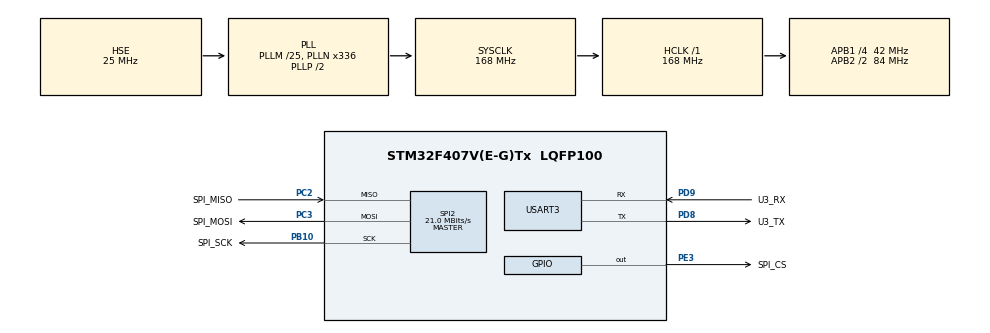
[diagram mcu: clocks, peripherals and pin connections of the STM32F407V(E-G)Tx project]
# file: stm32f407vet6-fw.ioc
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ADC1.Channel-0\#ChannelRegularConversion=ADC_CHANNEL_TEMPSENSOR
ADC1.ClockPrescaler=ADC_CLOCK_SYNC_PCLK_DIV4
ADC1.ContinuousConvMode=ENABLE
ADC1.DMAContinuousRequests=ENABLE
ADC1.InjNumberOfConversion=0
ADC1.NbrOfConversion=1
ADC1.NbrOfConversionFlag=1
ADC1.Rank-0\#ChannelRegularConversion=1
ADC1.SamplingTime-0\#ChannelRegularConversion=ADC_SAMPLETIME_112CYCLES
ADC1.master=1
Dma.ADC1.1.Direction=DMA_PERIPH_TO_MEMORY
Dma.ADC1.1.FIFOMode=DMA_FIFOMODE_ENABLE
Dma.ADC1.1.FIFOThreshold=DMA_FIFO_THRESHOLD_1QUARTERFULL
Dma.ADC1.1.Instance=DMA2_Stream0
Dma.ADC1.1.MemBurst=DMA_MBURST_SINGLE
Dma.ADC1.1.MemDataAlignment=DMA_MDATAALIGN_HALFWORD
Dma.ADC1.1.MemInc=DMA_MINC_ENABLE
Dma.ADC1.1.Mode=DMA_CIRCULAR
Dma.ADC1.1.PeriphBurst=DMA_PBURST_SINGLE
Dma.ADC1.1.PeriphDataAlignment=DMA_PDATAALIGN_HALFWORD
Dma.ADC1.1.PeriphInc=DMA_PINC_DISABLE
Dma.ADC1.1.Priority=DMA_PRIORITY_LOW
Dma.Request0=USART3_TX
Dma.Request1=ADC1
Dma.USART3_TX.0.Direction=DMA_MEMORY_TO_PERIPH
Dma.USART3_TX.0.FIFOMode=DMA_FIFOMODE_ENABLE
Dma.USART3_TX.0.FIFOThreshold=DMA_FIFO_THRESHOLD_1QUARTERFULL
Dma.USART3_TX.0.Instance=DMA1_Stream3
Dma.USART3_TX.0.MemBurst=DMA_MBURST_SINGLE
Dma.USART3_TX.0.MemDataAlignment=DMA_MDATAALIGN_BYTE
Dma.USART3_TX.0.MemInc=DMA_MINC_ENABLE
Dma.USART3_TX.0.Mode=DMA_NORMAL
Dma.USART3_TX.0.PeriphBurst=DMA_PBURST_SINGLE
Dma.USART3_TX.0.PeriphDataAlignment=DMA_PDATAALIGN_BYTE
Dma.USART3_TX.0.PeriphInc=DMA_PINC_DISABLE
Dma.USART3_TX.0.Priority=DMA_PRIORITY_LOW
Mcu.Family=STM32F4
Mcu.Name=STM32F407V(E-G)Tx
Mcu.Package=LQFP100
NVIC.ADC_IRQn=true\:0\:0\:false\:false\:true\:true\:true\:true
NVIC.DMA1_Stream3_IRQn=true\:0\:0\:false\:false\:true\:false\:true\:true
NVIC.DMA2_Stream0_IRQn=true\:0\:0\:false\:false\:true\:false\:true\:true
NVIC.PriorityGroup=NVIC_PRIORITYGROUP_4
NVIC.USART3_IRQn=true\:0\:0\:false\:false\:true\:true\:true\:true
PA13.Mode=Serial_Wire
PA13.Signal=SYS_JTMS-SWDIO
PA14.Mode=Serial_Wire
PA14.Signal=SYS_JTCK-SWCLK
PB10.GPIO_Label=SPI_SCK
PB10.Mode=Full_Duplex_Master
PB10.Signal=SPI2_SCK
PC14-OSC32_IN.Mode=LSE-External-Oscillator
PC14-OSC32_IN.Signal=RCC_OSC32_IN
PC15-OSC32_OUT.Mode=LSE-External-Oscillator
PC15-OSC32_OUT.Signal=RCC_OSC32_OUT
PC2.GPIO_Label=SPI_MISO
PC2.Mode=Full_Duplex_Master
PC2.Signal=SPI2_MISO
PC3.GPIO_Label=SPI_MOSI
PC3.Mode=Full_Duplex_Master
PC3.Signal=SPI2_MOSI
PD8.GPIO_Label=U3_TX
PD8.GPIO_PuPd=GPIO_PULLUP
PD8.Mode=Asynchronous
PD8.Signal=USART3_TX
PD9.GPIO_Label=U3_RX
PD9.GPIO_PuPd=GPIO_PULLUP
PD9.Mode=Asynchronous
PD9.Signal=USART3_RX
PE3.GPIO_Label=SPI_CS
PE3.GPIO_PuPd=GPIO_NOPULL
PE3.Signal=GPIO_Output
PH0-OSC_IN.Mode=HSE-External-Oscillator
PH0-OSC_IN.Signal=RCC_OSC_IN
PH1-OSC_OUT.Mode=HSE-External-Oscillator
PH1-OSC_OUT.Signal=RCC_OSC_OUT
ProjectManager.HeapSize=0x200
ProjectManager.StackSize=0x400
ProjectManager.TargetToolchain=STM32CubeIDE
RCC.48MHZClocksFreq_Value=84000000
RCC.AHBFreq_Value=168000000
RCC.APB1CLKDivider=RCC_HCLK_DIV4
RCC.APB1Freq_Value=42000000
RCC.APB1TimFreq_Value=84000000
RCC.APB2CLKDivider=RCC_HCLK_DIV2
RCC.APB2Freq_Value=84000000
RCC.APB2TimFreq_Value=168000000
RCC.CortexFreq_Value=168000000
RCC.HCLKFreq_Value=168000000
RCC.HSE_VALUE=25000000
RCC.HSI_VALUE=16000000
RCC.PLLM=25
RCC.PLLN=336
RCC.PLLSourceVirtual=RCC_PLLSOURCE_HSE
RCC.SYSCLKFreq_VALUE=168000000
RCC.SYSCLKSource=RCC_SYSCLKSOURCE_PLLCLK
RCC.VCOOutputFreq_Value=336000000
SPI2.CalculateBaudRate=21.0 MBits/s
SPI2.Direction=SPI_DIRECTION_2LINES
SPI2.Mode=SPI_MODE_MASTER
SPI2.VirtualType=VM_MASTER
USART3.VirtualMode=VM_ASYNC
VP_ADC1_TempSens_Input.Mode=IN-TempSens
board=custom

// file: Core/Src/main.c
/* USER CODE BEGIN Header */
/**
  ******************************************************************************
  * @file           : main.c
  * @brief          : Main program body
  ******************************************************************************
  * @attention
  *
  * Copyright (c) 2025 STMicroelectronics.
  * All rights reserved.
  *
  * This software is licensed under terms that can be found in the LICENSE file
  * in the root directory of this software component.
  * If no LICENSE file comes with this software, it is provided AS-IS.
  *
  ******************************************************************************
  */
/* USER CODE END Header */
#include "main.h"
#include "adc.h"
#include "dma.h"
#include "spi.h"
#include "usart.h"
#include "gpio.h"

/* USER CODE BEGIN Includes */
#include "w25q128.h"
#include "log.h"
#include "temperature.h"
/* USER CODE END Includes */

void SystemClock_Config(void);

/* USER CODE BEGIN 0 */
int _write(int file, char *ptr, int len)
{
	UNUSED(file);
	HAL_UART_Transmit(&huart3, (uint8_t*)ptr, len, 100);
	return len;
}

void Debug_DMA_State(void) {
    extern UART_HandleTypeDef huart3;
    printf("UART State: %d\n", huart3.gState);
    if (huart3.hdmatx) {
        printf("DMA State: %d\n", huart3.hdmatx->State);
    }
}

/* USER CODE END 0 */

int main(void)
{

  /* MCU Configuration--------------------------------------------------------*/

  /* Reset of all peripherals, Initializes the Flash interface and the Systick. */
  HAL_Init();

  /* Configure the system clock */
  SystemClock_Config();

  /* Initialize all configured peripherals */
  MX_GPIO_Init();
  MX_DMA_Init();
  MX_USART3_UART_Init();
  MX_SPI2_Init();
  MX_ADC1_Init();
  /* USER CODE BEGIN 2 */
  printf("Application Start\r\n");

  W25Q128_Init();
  log_init();
  temp_init();
//  Test_W25Q128();

  uint32_t pre_time = HAL_GetTick();

  /* USER CODE END 2 */

  /* Infinite loop */
  /* USER CODE BEGIN WHILE */
  while (1)
  {
    temp_process();
	log_process();
    /* USER CODE END WHILE */

  }
}

void SystemClock_Config(void)
{
  RCC_OscInitTypeDef RCC_OscInitStruct = {0};
  RCC_ClkInitTypeDef RCC_ClkInitStruct = {0};

  /** Configure the main internal regulator output voltage
  */
  __HAL_RCC_PWR_CLK_ENABLE();
  __HAL_PWR_VOLTAGESCALING_CONFIG(PWR_REGULATOR_VOLTAGE_SCALE1);

  /** Initializes the RCC Oscillators according to the specified parameters
  * in the RCC_OscInitTypeDef structure.
  */
  RCC_OscInitStruct.OscillatorType = RCC_OSCILLATORTYPE_HSE;
  RCC_OscInitStruct.HSEState = RCC_HSE_ON;
  RCC_OscInitStruct.PLL.PLLState = RCC_PLL_ON;
  RCC_OscInitStruct.PLL.PLLSource = RCC_PLLSOURCE_HSE;
  RCC_OscInitStruct.PLL.PLLM = 25;
  RCC_OscInitStruct.PLL.PLLN = 336;
  RCC_OscInitStruct.PLL.PLLP = RCC_PLLP_DIV2;
  RCC_OscInitStruct.PLL.PLLQ = 4;
  if (HAL_RCC_OscConfig(&RCC_OscInitStruct) != HAL_OK)
  {
    Error_Handler();
  }

  /** Initializes the CPU, AHB and APB buses clocks
  */
  RCC_ClkInitStruct.ClockType = RCC_CLOCKTYPE_HCLK|RCC_CLOCKTYPE_SYSCLK
                              |RCC_CLOCKTYPE_PCLK1|RCC_CLOCKTYPE_PCLK2;
  RCC_ClkInitStruct.SYSCLKSource = RCC_SYSCLKSOURCE_PLLCLK;
  RCC_ClkInitStruct.AHBCLKDivider = RCC_SYSCLK_DIV1;
  RCC_ClkInitStruct.APB1CLKDivider = RCC_HCLK_DIV4;
  RCC_ClkInitStruct.APB2CLKDivider = RCC_HCLK_DIV2;

  if (HAL_RCC_ClockConfig(&RCC_ClkInitStruct, FLASH_LATENCY_5) != HAL_OK)
  {
    Error_Handler();
  }
}

/* USER CODE BEGIN 4 */
// main.c에 이 함수가 있는지 확인
void HAL_UART_TxCpltCallback(UART_HandleTypeDef *huart)
{
    if (huart == &huart3) {
        log_tx_complete();  // ← 이게 호출 안 됨
    }
}

/* USER CODE END 4 */

void Error_Handler(void)
{
  __disable_irq();
  while (1)
  {
  }
}
